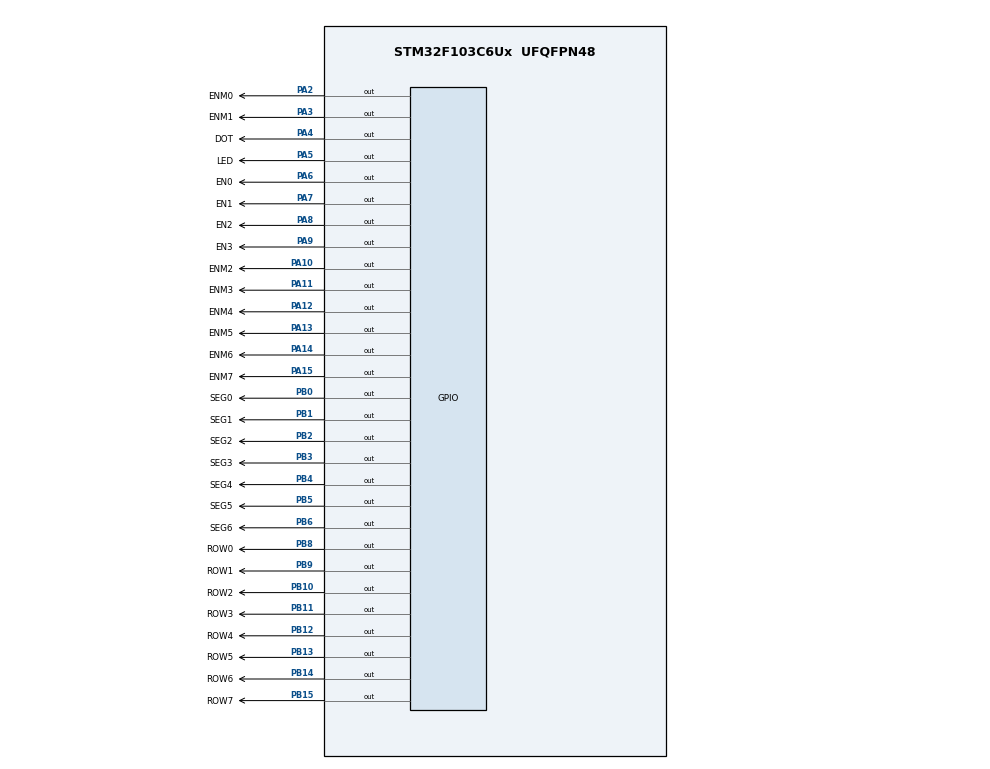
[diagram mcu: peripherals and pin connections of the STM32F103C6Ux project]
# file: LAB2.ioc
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Mcu.Family=STM32F1
Mcu.Name=STM32F103C6Ux
Mcu.Package=UFQFPN48
NVIC.PriorityGroup=NVIC_PRIORITYGROUP_4
NVIC.TIM2_IRQn=true\:0\:0\:false\:false\:true\:true\:true
PA10.GPIO_Label=ENM2
PA10.Signal=GPIO_Output
PA11.GPIO_Label=ENM3
PA11.Signal=GPIO_Output
PA12.GPIO_Label=ENM4
PA12.Signal=GPIO_Output
PA13.GPIO_Label=ENM5
PA13.Signal=GPIO_Output
PA14.GPIO_Label=ENM6
PA14.Signal=GPIO_Output
PA15.GPIO_Label=ENM7
PA15.Signal=GPIO_Output
PA2.GPIO_Label=ENM0
PA2.Signal=GPIO_Output
PA3.GPIO_Label=ENM1
PA3.Signal=GPIO_Output
PA4.GPIO_Label=DOT
PA4.Signal=GPIO_Output
PA5.GPIO_Label=LED
PA5.Signal=GPIO_Output
PA6.GPIO_Label=EN0
PA6.Signal=GPIO_Output
PA7.GPIO_Label=EN1
PA7.Signal=GPIO_Output
PA8.GPIO_Label=EN2
PA8.Signal=GPIO_Output
PA9.GPIO_Label=EN3
PA9.Signal=GPIO_Output
PB0.GPIO_Label=SEG0
PB0.Signal=GPIO_Output
PB1.GPIO_Label=SEG1
PB1.Signal=GPIO_Output
PB10.GPIO_Label=ROW2
PB10.Signal=GPIO_Output
PB11.GPIO_Label=ROW3
PB11.Signal=GPIO_Output
PB12.GPIO_Label=ROW4
PB12.Signal=GPIO_Output
PB13.GPIO_Label=ROW5
PB13.Signal=GPIO_Output
PB14.GPIO_Label=ROW6
PB14.Signal=GPIO_Output
PB15.GPIO_Label=ROW7
PB15.Signal=GPIO_Output
PB2.GPIO_Label=SEG2
PB2.Signal=GPIO_Output
PB3.GPIO_Label=SEG3
PB3.Signal=GPIO_Output
PB4.GPIO_Label=SEG4
PB4.Signal=GPIO_Output
PB5.GPIO_Label=SEG5
PB5.Signal=GPIO_Output
PB6.GPIO_Label=SEG6
PB6.Signal=GPIO_Output
PB8.GPIO_Label=ROW0
PB8.Signal=GPIO_Output
PB9.GPIO_Label=ROW1
PB9.Signal=GPIO_Output
ProjectManager.HeapSize=0x200
ProjectManager.StackSize=0x400
ProjectManager.TargetToolchain=STM32CubeIDE
RCC.APB1Freq_Value=8000000
RCC.APB2Freq_Value=8000000
TIM2.Period=9
TIM2.Prescaler=7999
VP_SYS_VS_ND.Mode=No_Debug
VP_TIM2_VS_ClockSourceINT.Mode=Internal
board=custom

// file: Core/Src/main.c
/* USER CODE BEGIN Header */
/**
 ******************************************************************************
 * @file           : main.c
 * @brief          : Main program body
 ******************************************************************************
 * @attention
 *
 * <h2><center>&copy; Copyright (c) 2024 STMicroelectronics.
 * All rights reserved.</center></h2>
 *
 * This software component is licensed by ST under BSD 3-Clause license,
 * the "License"; You may not use this file except in compliance with the
 * License. You may obtain a copy of the License at:
 *                        opensource.org/licenses/BSD-3-Clause
 *
 ******************************************************************************
 */
/* USER CODE END Header */
#include "main.h"

/* USER CODE BEGIN Includes */
#include "software_timer.h"
/* USER CODE END Includes */

TIM_HandleTypeDef htim2;

void SystemClock_Config(void);
static void MX_GPIO_Init(void);
static void MX_TIM2_Init(void);

/* USER CODE BEGIN 0 */
void display7SEG(int num) {

	if (num == 0) {
		HAL_GPIO_WritePin(SEG0_GPIO_Port, SEG0_Pin, GPIO_PIN_RESET);
		HAL_GPIO_WritePin(SEG1_GPIO_Port, SEG1_Pin, GPIO_PIN_RESET);
		HAL_GPIO_WritePin(SEG2_GPIO_Port, SEG2_Pin, GPIO_PIN_RESET);
		HAL_GPIO_WritePin(SEG3_GPIO_Port, SEG3_Pin, GPIO_PIN_RESET);
		HAL_GPIO_WritePin(SEG4_GPIO_Port, SEG4_Pin, GPIO_PIN_RESET);
		HAL_GPIO_WritePin(SEG5_GPIO_Port, SEG5_Pin, GPIO_PIN_RESET);
		HAL_GPIO_WritePin(SEG6_GPIO_Port, SEG6_Pin, GPIO_PIN_SET);
	} else if (num == 1) {
		HAL_GPIO_WritePin(SEG0_GPIO_Port, SEG0_Pin, GPIO_PIN_SET);
		HAL_GPIO_WritePin(SEG1_GPIO_Port, SEG1_Pin, GPIO_PIN_RESET);
		HAL_GPIO_WritePin(SEG2_GPIO_Port, SEG2_Pin, GPIO_PIN_RESET);
		HAL_GPIO_WritePin(SEG3_GPIO_Port, SEG3_Pin, GPIO_PIN_SET);
		HAL_GPIO_WritePin(SEG4_GPIO_Port, SEG4_Pin, GPIO_PIN_SET);
		HAL_GPIO_WritePin(SEG5_GPIO_Port, SEG5_Pin, GPIO_PIN_SET);
		HAL_GPIO_WritePin(SEG6_GPIO_Port, SEG6_Pin, GPIO_PIN_SET);
	} else if (num == 2) {
		HAL_GPIO_WritePin(SEG0_GPIO_Port, SEG0_Pin, GPIO_PIN_RESET);
		HAL_GPIO_WritePin(SEG1_GPIO_Port, SEG1_Pin, GPIO_PIN_RESET);
		HAL_GPIO_WritePin(SEG2_GPIO_Port, SEG2_Pin, GPIO_PIN_SET);
		HAL_GPIO_WritePin(SEG3_GPIO_Port, SEG3_Pin, GPIO_PIN_RESET);
		HAL_GPIO_WritePin(SEG4_GPIO_Port, SEG4_Pin, GPIO_PIN_RESET);
		HAL_GPIO_WritePin(SEG5_GPIO_Port, SEG5_Pin, GPIO_PIN_SET);
		HAL_GPIO_WritePin(SEG6_GPIO_Port, SEG6_Pin, GPIO_PIN_RESET);
	} else if (num == 3) {
		HAL_GPIO_WritePin(SEG0_GPIO_Port, SEG0_Pin, GPIO_PIN_RESET);
		HAL_GPIO_WritePin(SEG1_GPIO_Port, SEG1_Pin, GPIO_PIN_RESET);
		HAL_GPIO_WritePin(SEG2_GPIO_Port, SEG2_Pin, GPIO_PIN_RESET);
		HAL_GPIO_WritePin(SEG3_GPIO_Port, SEG3_Pin, GPIO_PIN_RESET);
		HAL_GPIO_WritePin(SEG4_GPIO_Port, SEG4_Pin, GPIO_PIN_SET);
		HAL_GPIO_WritePin(SEG5_GPIO_Port, SEG5_Pin, GPIO_PIN_SET);
		HAL_GPIO_WritePin(SEG6_GPIO_Port, SEG6_Pin, GPIO_PIN_RESET);
	} else if (num == 4) {
		HAL_GPIO_WritePin(SEG0_GPIO_Port, SEG0_Pin, GPIO_PIN_SET);
		HAL_GPIO_WritePin(SEG1_GPIO_Port, SEG1_Pin, GPIO_PIN_RESET);
		HAL_GPIO_WritePin(SEG2_GPIO_Port, SEG2_Pin, GPIO_PIN_RESET);
		HAL_GPIO_WritePin(SEG3_GPIO_Port, SEG3_Pin, GPIO_PIN_SET);
		HAL_GPIO_WritePin(SEG4_GPIO_Port, SEG4_Pin, GPIO_PIN_SET);
		HAL_GPIO_WritePin(SEG5_GPIO_Port, SEG5_Pin, GPIO_PIN_RESET);
		HAL_GPIO_WritePin(SEG6_GPIO_Port, SEG6_Pin, GPIO_PIN_RESET);
	} else if (num == 5) {
		HAL_GPIO_WritePin(SEG0_GPIO_Port, SEG0_Pin, GPIO_PIN_RESET);
		HAL_GPIO_WritePin(SEG1_GPIO_Port, SEG1_Pin, GPIO_PIN_SET);
		HAL_GPIO_WritePin(SEG2_GPIO_Port, SEG2_Pin, GPIO_PIN_RESET);
		HAL_GPIO_WritePin(SEG3_GPIO_Port, SEG3_Pin, GPIO_PIN_RESET);
		HAL_GPIO_WritePin(SEG4_GPIO_Port, SEG4_Pin, GPIO_PIN_SET);
		HAL_GPIO_WritePin(SEG5_GPIO_Port, SEG5_Pin, GPIO_PIN_RESET);
		HAL_GPIO_WritePin(SEG6_GPIO_Port, SEG6_Pin, GPIO_PIN_RESET);
	} else if (num == 6) {
		HAL_GPIO_WritePin(SEG0_GPIO_Port, SEG0_Pin, GPIO_PIN_RESET);
		HAL_GPIO_WritePin(SEG1_GPIO_Port, SEG1_Pin, GPIO_PIN_SET);
		HAL_GPIO_WritePin(SEG2_GPIO_Port, SEG2_Pin, GPIO_PIN_RESET);
		HAL_GPIO_WritePin(SEG3_GPIO_Port, SEG3_Pin, GPIO_PIN_RESET);
		HAL_GPIO_WritePin(SEG4_GPIO_Port, SEG4_Pin, GPIO_PIN_RESET);
		HAL_GPIO_WritePin(SEG5_GPIO_Port, SEG5_Pin, GPIO_PIN_RESET);
		HAL_GPIO_WritePin(SEG6_GPIO_Port, SEG6_Pin, GPIO_PIN_RESET);
	} else if (num == 7) {
		HAL_GPIO_WritePin(SEG0_GPIO_Port, SEG0_Pin, GPIO_PIN_RESET);
		HAL_GPIO_WritePin(SEG1_GPIO_Port, SEG1_Pin, GPIO_PIN_RESET);
		HAL_GPIO_WritePin(SEG2_GPIO_Port, SEG2_Pin, GPIO_PIN_RESET);
		HAL_GPIO_WritePin(SEG3_GPIO_Port, SEG3_Pin, GPIO_PIN_SET);
		HAL_GPIO_WritePin(SEG4_GPIO_Port, SEG4_Pin, GPIO_PIN_SET);
		HAL_GPIO_WritePin(SEG5_GPIO_Port, SEG5_Pin, GPIO_PIN_SET);
		HAL_GPIO_WritePin(SEG6_GPIO_Port, SEG6_Pin, GPIO_PIN_SET);
	} else if (num == 8) {
		HAL_GPIO_WritePin(SEG0_GPIO_Port, SEG0_Pin, GPIO_PIN_RESET);
		HAL_GPIO_WritePin(SEG1_GPIO_Port, SEG1_Pin, GPIO_PIN_RESET);
		HAL_GPIO_WritePin(SEG2_GPIO_Port, SEG2_Pin, GPIO_PIN_RESET);
		HAL_GPIO_WritePin(SEG3_GPIO_Port, SEG3_Pin, GPIO_PIN_RESET);
		HAL_GPIO_WritePin(SEG4_GPIO_Port, SEG4_Pin, GPIO_PIN_RESET);
		HAL_GPIO_WritePin(SEG5_GPIO_Port, SEG5_Pin, GPIO_PIN_RESET);
		HAL_GPIO_WritePin(SEG6_GPIO_Port, SEG6_Pin, GPIO_PIN_RESET);
	} else {
		HAL_GPIO_WritePin(SEG0_GPIO_Port, SEG0_Pin, GPIO_PIN_RESET);
		HAL_GPIO_WritePin(SEG1_GPIO_Port, SEG1_Pin, GPIO_PIN_RESET);
		HAL_GPIO_WritePin(SEG2_GPIO_Port, SEG2_Pin, GPIO_PIN_RESET);
		HAL_GPIO_WritePin(SEG3_GPIO_Port, SEG3_Pin, GPIO_PIN_RESET);
		HAL_GPIO_WritePin(SEG4_GPIO_Port, SEG4_Pin, GPIO_PIN_SET);
		HAL_GPIO_WritePin(SEG5_GPIO_Port, SEG5_Pin, GPIO_PIN_RESET);
		HAL_GPIO_WritePin(SEG6_GPIO_Port, SEG6_Pin, GPIO_PIN_RESET);
	}
}
int hour = 15, minute = 8, second = 50;
int led_buffer[4];
void updateClockBuffer() {
	led_buffer[0] = hour / 10;
	led_buffer[1] = hour % 10;
	led_buffer[2] = minute / 10;
	led_buffer[3] = minute % 10;
}
void clear() {
	HAL_GPIO_WritePin(GPIOA, EN0_Pin | EN1_Pin | EN2_Pin | EN3_Pin, SET);
	HAL_GPIO_WritePin(GPIOB,
	SEG0_Pin | SEG1_Pin | SEG2_Pin | SEG3_Pin | SEG4_Pin | SEG5_Pin | SEG6_Pin,
			SET);
}
void clearMatrix() {
	HAL_GPIO_WritePin(GPIOB,
			ROW0_Pin | ROW1_Pin | ROW2_Pin | ROW3_Pin | ROW4_Pin | ROW5_Pin
					| ROW6_Pin | ROW7_Pin, SET);
	HAL_GPIO_WritePin(GPIOA,
			ENM0_Pin | ENM1_Pin | ENM2_Pin | ENM3_Pin | ENM4_Pin | ENM5_Pin
					| ENM6_Pin | ENM7_Pin, SET);
}
const int MAX_LED = 4;
int index_led = 0;
int Pin[4] = { EN0_Pin, EN1_Pin, EN2_Pin, EN3_Pin };
int ENMPin[8] = { ENM0_Pin, ENM1_Pin, ENM2_Pin, ENM3_Pin, ENM4_Pin, ENM5_Pin,
		ENM6_Pin, ENM7_Pin };
int buffer[4] = { 1, 2, 3, 4 };
void enPin(int en) {
	HAL_GPIO_WritePin(GPIOA, Pin[en], RESET);
}
void DisplayMatrix(uint8_t value) {
	    if (value & 0x80)
	        HAL_GPIO_WritePin(ENM0_GPIO_Port, ENM0_Pin, RESET);
	    else
	        HAL_GPIO_WritePin(ENM0_GPIO_Port, ENM0_Pin, SET);

	    if (value & 0x40)
	        HAL_GPIO_WritePin(ENM1_GPIO_Port, ENM1_Pin, RESET);
	    else
	        HAL_GPIO_WritePin(ENM1_GPIO_Port, ENM1_Pin, SET);

	    if (value & 0x20)
	        HAL_GPIO_WritePin(ENM2_GPIO_Port, ENM2_Pin, RESET);
	    else
	        HAL_GPIO_WritePin(ENM2_GPIO_Port, ENM2_Pin, SET);

	    if (value & 0x10)
	        HAL_GPIO_WritePin(ENM3_GPIO_Port, ENM3_Pin, RESET);
	    else
	        HAL_GPIO_WritePin(ENM3_GPIO_Port, ENM3_Pin, SET);

	    if (value & 0x08)
	        HAL_GPIO_WritePin(ENM4_GPIO_Port, ENM4_Pin, RESET);
	    else
	        HAL_GPIO_WritePin(ENM4_GPIO_Port, ENM4_Pin, SET);

	    if (value & 0x04)
	        HAL_GPIO_WritePin(ENM5_GPIO_Port, ENM5_Pin, RESET);
	    else
	        HAL_GPIO_WritePin(ENM5_GPIO_Port, ENM5_Pin, SET);

	    if (value & 0x02)
	        HAL_GPIO_WritePin(ENM6_GPIO_Port, ENM6_Pin, RESET);
	    else
	        HAL_GPIO_WritePin(ENM6_GPIO_Port, ENM6_Pin, SET);

	    if (value & 0x01)
	        HAL_GPIO_WritePin(ENM7_GPIO_Port, ENM7_Pin, RESET);
	    else
	        HAL_GPIO_WritePin(ENM7_GPIO_Port, ENM7_Pin, SET);
}

void update7SEG(int index) {
	clear();
	switch (index) {
	case 1:
		//Display the first 7SEG with led_buffer[0]
		enPin(0);
		display7SEG(led_buffer[0]);
		break;
	case 2:
		//Display the second 7SEG with led_buffer[1]
		enPin(1);
		display7SEG(led_buffer[1]);
		break;
	case 3:
		//Display the third 7SEG with led_buffer[2]
		enPin(2);
		display7SEG(led_buffer[2]);
		break;
	case 4:
		//Display the forth 7SEG with led_buffer[3]
		enPin(3);
		display7SEG(led_buffer[3]);
		break;
	default:
		break;
	}
}
const int MAX_LED_MATRIX = 8;
int index_led_matrix = 0;
uint8_t matrix_buffer[8] = { 0x18,0x3C,0x66,0x66,0x7E,0x66,0x66,0x66};
uint8_t new_matrix_buffer[8];
uint8_t matrix_buffer0[8] = { 0x18,0x3C,0x66,0x66,0x7E,0x66,0x66,0x66};
uint8_t matrix_buffer1[8] = {0x3C, 0x24, 0x24, 0x38, 0x38, 0x24, 0x24, 0x3C};
uint8_t matrix_buffer2[8] = {0x3C, 0x20, 0x20, 0x20, 0x20, 0x20, 0x20, 0x3C};

void updateLEDMatrix(int index) {
	clearMatrix();
	switch (index) {
	case 0:
		DisplayMatrix(matrix_buffer[0]);
		HAL_GPIO_WritePin(ROW0_GPIO_Port, ROW0_Pin, RESET);
		break;
	case 1:
		DisplayMatrix(matrix_buffer[1]);
		HAL_GPIO_WritePin(ROW1_GPIO_Port, ROW1_Pin, RESET);
		break;
	case 2:
		DisplayMatrix(matrix_buffer[2]);
		HAL_GPIO_WritePin(ROW2_GPIO_Port, ROW2_Pin, RESET);
		break;
	case 3:
		DisplayMatrix(matrix_buffer[3]);
		HAL_GPIO_WritePin(ROW3_GPIO_Port, ROW3_Pin, RESET);
		break;
	case 4:
		DisplayMatrix(matrix_buffer[4]);
		HAL_GPIO_WritePin(ROW4_GPIO_Port, ROW4_Pin, RESET);
		break;
	case 5:
		DisplayMatrix(matrix_buffer[5]);
		HAL_GPIO_WritePin(ROW5_GPIO_Port, ROW5_Pin, RESET);
		break;
	case 6:
		DisplayMatrix(matrix_buffer[6]);
		HAL_GPIO_WritePin(ROW6_GPIO_Port, ROW6_Pin, RESET);
		break;
	case 7:
		DisplayMatrix(matrix_buffer[7]);
		HAL_GPIO_WritePin(ROW7_GPIO_Port, ROW7_Pin, RESET);
		break;
	default:
		break;
	}
}
#include "main.h"

void transform(uint8_t* input, uint8_t* output, int step) {
	switch(step) {
	case 0:
		for (int i = 0; i < 8; i++) {
			output[i] = matrix_buffer1[i];
		}
		break;
	case 1:
		for (int i = 0; i < 8; i++) {
			output[i] = matrix_buffer2[i];
		}
		break;
	case 2:
		for (int i = 0; i < 8; i++) {
			output[i] = matrix_buffer0[i];
		}
		break;
	}
}

/* USER CODE END 0 */

int main(void) {

	/* MCU Configuration--------------------------------------------------------*/

	/* Reset of all peripherals, Initializes the Flash interface and the Systick. */
	HAL_Init();

	/* Configure the system clock */
	SystemClock_Config();

	/* Initialize all configured peripherals */
	MX_GPIO_Init();
	MX_TIM2_Init();
	/* USER CODE BEGIN 2 */
	HAL_TIM_Base_Start_IT(&htim2);
	/* USER CODE END 2 */

	/* Infinite loop */
	/* USER CODE BEGIN WHILE */
	setTimer1(100);
	setTimer2(100);
	setTimer3(25);
	setTimer4(25);
	int step = 0;
	while (1) {
		/* USER CODE END WHILE */

		/* USER CODE BEGIN 3 */
		if (timer1_flag == 1) {
			setTimer1(100);
			HAL_GPIO_TogglePin(LED_GPIO_Port, LED_Pin);
			HAL_GPIO_TogglePin(DOT_GPIO_Port, DOT_Pin);
		}

		// Update Clock
		if (timer2_flag == 1) {
			updateClockBuffer();
			second++;
			if (second >= 60) {
				second = 0;
				minute++;
			}
			if (minute >= 60) {
				minute = 0;
				hour++;
			}
			if (hour >= 24) {
				hour = 0;
			}
			setTimer2(100);
		}
		// 7 SEG
		if (timer3_flag == 1) {
			updateClockBuffer();
			if (index_led < MAX_LED) {
				update7SEG(buffer[index_led]);
				index_led++;
			} else {
				index_led = 0;
			}
			setTimer3(25);
		}
		if (timer4_flag == 1) {
			if (index_led_matrix < MAX_LED_MATRIX) {
				updateLEDMatrix(index_led_matrix);
				index_led_matrix++;
			} else {
				transform(matrix_buffer,new_matrix_buffer, step);
				for (int i = 0; i < MAX_LED_MATRIX; i++)
				{
					matrix_buffer[i] = new_matrix_buffer[i];
				}
				index_led_matrix = 0;
				step++;
				if (step > 2)
				{
					step = 0;
				}
			}
			setTimer4(25);
		}
	}
	/* USER CODE END 3 */
}

void SystemClock_Config(void) {
	RCC_OscInitTypeDef RCC_OscInitStruct = { 0 };
	RCC_ClkInitTypeDef RCC_ClkInitStruct = { 0 };

	/** Initializes the RCC Oscillators according to the specified parameters
	 * in the RCC_OscInitTypeDef structure.
	 */
	RCC_OscInitStruct.OscillatorType = RCC_OSCILLATORTYPE_HSI;
	RCC_OscInitStruct.HSIState = RCC_HSI_ON;
	RCC_OscInitStruct.HSICalibrationValue = RCC_HSICALIBRATION_DEFAULT;
	RCC_OscInitStruct.PLL.PLLState = RCC_PLL_NONE;
	if (HAL_RCC_OscConfig(&RCC_OscInitStruct) != HAL_OK) {
		Error_Handler();
	}
	/** Initializes the CPU, AHB and APB buses clocks
	 */
	RCC_ClkInitStruct.ClockType = RCC_CLOCKTYPE_HCLK | RCC_CLOCKTYPE_SYSCLK
			| RCC_CLOCKTYPE_PCLK1 | RCC_CLOCKTYPE_PCLK2;
	RCC_ClkInitStruct.SYSCLKSource = RCC_SYSCLKSOURCE_HSI;
	RCC_ClkInitStruct.AHBCLKDivider = RCC_SYSCLK_DIV1;
	RCC_ClkInitStruct.APB1CLKDivider = RCC_HCLK_DIV1;
	RCC_ClkInitStruct.APB2CLKDivider = RCC_HCLK_DIV1;

	if (HAL_RCC_ClockConfig(&RCC_ClkInitStruct, FLASH_LATENCY_0) != HAL_OK) {
		Error_Handler();
	}
}

static void MX_TIM2_Init(void) {

	TIM_ClockConfigTypeDef sClockSourceConfig = { 0 };
	TIM_MasterConfigTypeDef sMasterConfig = { 0 };

	htim2.Instance = TIM2;
	htim2.Init.Prescaler = 7999;
	htim2.Init.CounterMode = TIM_COUNTERMODE_UP;
	htim2.Init.Period = 9;
	htim2.Init.ClockDivision = TIM_CLOCKDIVISION_DIV1;
	htim2.Init.AutoReloadPreload = TIM_AUTORELOAD_PRELOAD_DISABLE;
	if (HAL_TIM_Base_Init(&htim2) != HAL_OK) {
		Error_Handler();
	}
	sClockSourceConfig.ClockSource = TIM_CLOCKSOURCE_INTERNAL;
	if (HAL_TIM_ConfigClockSource(&htim2, &sClockSourceConfig) != HAL_OK) {
		Error_Handler();
	}
	sMasterConfig.MasterOutputTrigger = TIM_TRGO_RESET;
	sMasterConfig.MasterSlaveMode = TIM_MASTERSLAVEMODE_DISABLE;
	if (HAL_TIMEx_MasterConfigSynchronization(&htim2, &sMasterConfig)
			!= HAL_OK) {
		Error_Handler();
	}

}

static void MX_GPIO_Init(void) {
	GPIO_InitTypeDef GPIO_InitStruct = { 0 };

	/* GPIO Ports Clock Enable */
	__HAL_RCC_GPIOA_CLK_ENABLE();
	__HAL_RCC_GPIOB_CLK_ENABLE();

	/*Configure GPIO pin Output Level */
	HAL_GPIO_WritePin(GPIOA,
			ENM0_Pin | ENM1_Pin | DOT_Pin | LED_Pin | EN0_Pin | EN1_Pin
					| EN2_Pin | EN3_Pin | ENM2_Pin | ENM3_Pin | ENM4_Pin
					| ENM5_Pin | ENM6_Pin | ENM7_Pin, GPIO_PIN_RESET);

	/*Configure GPIO pin Output Level */
	HAL_GPIO_WritePin(GPIOB,
			SEG0_Pin | SEG1_Pin | SEG2_Pin | ROW2_Pin | ROW3_Pin | ROW4_Pin
					| ROW5_Pin | ROW6_Pin | ROW7_Pin | SEG3_Pin | SEG4_Pin
					| SEG5_Pin | SEG6_Pin | ROW0_Pin | ROW1_Pin,
			GPIO_PIN_RESET);

	/*Configure GPIO pins : ENM0_Pin ENM1_Pin DOT_Pin LED_Pin
	 EN0_Pin EN1_Pin EN2_Pin EN3_Pin
	 ENM2_Pin ENM3_Pin ENM4_Pin ENM5_Pin
	 ENM6_Pin ENM7_Pin */
	GPIO_InitStruct.Pin = ENM0_Pin | ENM1_Pin | DOT_Pin | LED_Pin | EN0_Pin
			| EN1_Pin | EN2_Pin | EN3_Pin | ENM2_Pin | ENM3_Pin | ENM4_Pin
			| ENM5_Pin | ENM6_Pin | ENM7_Pin;
	GPIO_InitStruct.Mode = GPIO_MODE_OUTPUT_PP;
	GPIO_InitStruct.Pull = GPIO_NOPULL;
	GPIO_InitStruct.Speed = GPIO_SPEED_FREQ_LOW;
	HAL_GPIO_Init(GPIOA, &GPIO_InitStruct);

	/*Configure GPIO pins : SEG0_Pin SEG1_Pin SEG2_Pin ROW2_Pin
	 ROW3_Pin ROW4_Pin ROW5_Pin ROW6_Pin
	 ROW7_Pin SEG3_Pin SEG4_Pin SEG5_Pin
	 SEG6_Pin ROW0_Pin ROW1_Pin */
	GPIO_InitStruct.Pin = SEG0_Pin | SEG1_Pin | SEG2_Pin | ROW2_Pin | ROW3_Pin
			| ROW4_Pin | ROW5_Pin | ROW6_Pin | ROW7_Pin | SEG3_Pin | SEG4_Pin
			| SEG5_Pin | SEG6_Pin | ROW0_Pin | ROW1_Pin;
	GPIO_InitStruct.Mode = GPIO_MODE_OUTPUT_PP;
	GPIO_InitStruct.Pull = GPIO_NOPULL;
	GPIO_InitStruct.Speed = GPIO_SPEED_FREQ_LOW;
	HAL_GPIO_Init(GPIOB, &GPIO_InitStruct);

}

/* USER CODE BEGIN 4 */

void HAL_TIM_PeriodElapsedCallback(TIM_HandleTypeDef *htim) {
	TimerRun();
}
/* USER CODE END 4 */

void Error_Handler(void) {
	__disable_irq();
	while (1) {
	}
}

/************************ (C) COPYRIGHT STMicroelectronics *****END OF FILE****/
